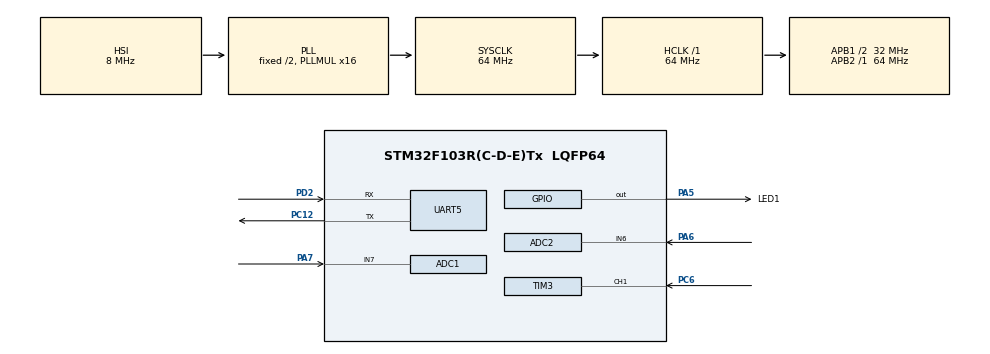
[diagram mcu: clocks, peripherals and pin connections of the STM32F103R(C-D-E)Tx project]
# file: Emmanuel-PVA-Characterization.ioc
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ADC1.Channel-0\#ChannelRegularConversion=ADC_CHANNEL_7
ADC1.NbrOfConversionFlag=1
ADC1.Rank-0\#ChannelRegularConversion=1
ADC1.SamplingTime-0\#ChannelRegularConversion=ADC_SAMPLETIME_1CYCLE_5
ADC1.master=1
ADC2.Channel-0\#ChannelRegularConversion=ADC_CHANNEL_6
ADC2.NbrOfConversionFlag=1
ADC2.Rank-0\#ChannelRegularConversion=1
ADC2.SamplingTime-0\#ChannelRegularConversion=ADC_SAMPLETIME_1CYCLE_5
Mcu.Family=STM32F1
Mcu.Name=STM32F103R(C-D-E)Tx
Mcu.Package=LQFP64
NVIC.PriorityGroup=NVIC_PRIORITYGROUP_4
PA13.Mode=Serial_Wire
PA13.Signal=SYS_JTMS-SWDIO
PA14.Mode=Serial_Wire
PA14.Signal=SYS_JTCK-SWCLK
PA5.GPIO_Label=LED1
PA5.Signal=GPIO_Output
PA6.Signal=ADCx_IN6
PA7.Signal=ADCx_IN7
PC12.Mode=Asynchronous
PC12.Signal=UART5_TX
PC6.Signal=S_TIM3_CH1
PD2.Mode=Asynchronous
PD2.Signal=UART5_RX
ProjectManager.HeapSize=0x200
ProjectManager.StackSize=0x400
ProjectManager.TargetToolchain=STM32CubeIDE
RCC.ADCPresc=RCC_ADCPCLK2_DIV6
RCC.AHBFreq_Value=64000000
RCC.APB1CLKDivider=RCC_HCLK_DIV2
RCC.APB1Freq_Value=32000000
RCC.APB1TimFreq_Value=64000000
RCC.APB2Freq_Value=64000000
RCC.APB2TimFreq_Value=64000000
RCC.HCLKFreq_Value=64000000
RCC.PLLMUL=RCC_PLL_MUL16
RCC.SYSCLKFreq_VALUE=64000000
RCC.SYSCLKSource=RCC_SYSCLKSOURCE_PLLCLK
RCC.USBFreq_Value=64000000
SH.ADCx_IN6.0=ADC2_IN6,IN6
SH.ADCx_IN7.0=ADC1_IN7,IN7
SH.S_TIM3_CH1.0=TIM3_CH1,Input_Capture1_from_TI1
TIM3.AutoReloadPreload=TIM_AUTORELOAD_PRELOAD_ENABLE
TIM3.Channel-Input_Capture1_from_TI1=TIM_CHANNEL_1
TIM3.Prescaler=64-1
UART5.VirtualMode=Asynchronous
board=custom

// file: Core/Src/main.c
/* USER CODE BEGIN Header */
/**
  ******************************************************************************
  * @file           : main.c
  * @brief          : Main program body
  ******************************************************************************
  * @attention
  *
  * Copyright (c) 2025 STMicroelectronics.
  * All rights reserved.
  *
  * This software is licensed under terms that can be found in the LICENSE file
  * in the root directory of this software component.
  * If no LICENSE file comes with this software, it is provided AS-IS.
  *
  ******************************************************************************
  */
/* USER CODE END Header */
#include "main.h"

ADC_HandleTypeDef hadc1;
ADC_HandleTypeDef hadc2;

TIM_HandleTypeDef htim3;

UART_HandleTypeDef huart5;

void SystemClock_Config(void);
static void MX_GPIO_Init(void);
static void MX_UART5_Init(void);
static void MX_ADC1_Init(void);
static void MX_ADC2_Init(void);
static void MX_TIM3_Init(void);

int main(void)
{

  /* MCU Configuration--------------------------------------------------------*/

  /* Reset of all peripherals, Initializes the Flash interface and the Systick. */
  HAL_Init();

  /* Configure the system clock */
  SystemClock_Config();

  /* Initialize all configured peripherals */
  MX_GPIO_Init();
  MX_UART5_Init();
  MX_ADC1_Init();
  MX_ADC2_Init();
  MX_TIM3_Init();
  /* USER CODE BEGIN 2 */

  #define SAMPLES 3600

  uint16_t adc1_values[SAMPLES] = {0};
  uint16_t adc2_values[SAMPLES] = {0};
  uint16_t index = 0;

  /* USER CODE END 2 */

  /* Infinite loop */
//   bool is_charging = false;

  #define THRESHOLD_FOR_SENDING     (12)        // 0.01V / 3.25V * 4095. //  // 0 doesnt work because adc1/2_values already 0.

  while (1)
  {
    /* USER CODE END WHILE */

    /* USER CODE BEGIN 3 */

    // Read ADC1 and ADC2 then print to UART

    HAL_ADC_Start(&hadc1);
    if (HAL_ADC_PollForConversion(&hadc1, HAL_MAX_DELAY) == HAL_OK)
    {
        adc1_values[index] = (uint16_t)HAL_ADC_GetValue(&hadc1);
    }
    HAL_ADC_Stop(&hadc1);

    HAL_ADC_Start(&hadc2);
    if (HAL_ADC_PollForConversion(&hadc2, HAL_MAX_DELAY) == HAL_OK)
    {
        adc2_values[index] = (uint16_t)HAL_ADC_GetValue(&hadc2);
    }
    HAL_ADC_Stop(&hadc2);

    // If voltage is <=1, skip this sample (This assumes capacitors are not charged)
    if ((int)adc2_values[index] <= THRESHOLD_FOR_SENDING){
      continue;
    }

    index++;

    if (index > SAMPLES){
      HAL_GPIO_TogglePin(LED1_GPIO_Port, LED1_Pin);
      for (int i = 0; i < SAMPLES; i++) {
        // First 16 bits are adc1 (current sensor voltage), last 16 bits are adc2 (voltage)
        uint32_t out = ((uint32_t)adc1_values[i] << 16) | ((uint32_t)adc2_values[i] << 0);
        adc1_values[i] = 0;
        adc2_values[i] = 0;
        HAL_StatusTypeDef status = HAL_UART_Transmit(&huart5, (uint8_t*)&out, sizeof(out), HAL_MAX_DELAY);
      }
      index = 0;
    }
  }
  /* USER CODE END 3 */
}

void SystemClock_Config(void)
{
  RCC_OscInitTypeDef RCC_OscInitStruct = {0};
  RCC_ClkInitTypeDef RCC_ClkInitStruct = {0};
  RCC_PeriphCLKInitTypeDef PeriphClkInit = {0};

  /** Initializes the RCC Oscillators according to the specified parameters
  * in the RCC_OscInitTypeDef structure.
  */
  RCC_OscInitStruct.OscillatorType = RCC_OSCILLATORTYPE_HSI;
  RCC_OscInitStruct.HSIState = RCC_HSI_ON;
  RCC_OscInitStruct.HSICalibrationValue = RCC_HSICALIBRATION_DEFAULT;
  RCC_OscInitStruct.PLL.PLLState = RCC_PLL_ON;
  RCC_OscInitStruct.PLL.PLLSource = RCC_PLLSOURCE_HSI_DIV2;
  RCC_OscInitStruct.PLL.PLLMUL = RCC_PLL_MUL16;
  if (HAL_RCC_OscConfig(&RCC_OscInitStruct) != HAL_OK)
  {
    Error_Handler();
  }

  /** Initializes the CPU, AHB and APB buses clocks
  */
  RCC_ClkInitStruct.ClockType = RCC_CLOCKTYPE_HCLK|RCC_CLOCKTYPE_SYSCLK
                              |RCC_CLOCKTYPE_PCLK1|RCC_CLOCKTYPE_PCLK2;
  RCC_ClkInitStruct.SYSCLKSource = RCC_SYSCLKSOURCE_PLLCLK;
  RCC_ClkInitStruct.AHBCLKDivider = RCC_SYSCLK_DIV1;
  RCC_ClkInitStruct.APB1CLKDivider = RCC_HCLK_DIV2;
  RCC_ClkInitStruct.APB2CLKDivider = RCC_HCLK_DIV1;

  if (HAL_RCC_ClockConfig(&RCC_ClkInitStruct, FLASH_LATENCY_2) != HAL_OK)
  {
    Error_Handler();
  }
  PeriphClkInit.PeriphClockSelection = RCC_PERIPHCLK_ADC;
  PeriphClkInit.AdcClockSelection = RCC_ADCPCLK2_DIV6;
  if (HAL_RCCEx_PeriphCLKConfig(&PeriphClkInit) != HAL_OK)
  {
    Error_Handler();
  }
}

static void MX_ADC1_Init(void)
{

  ADC_ChannelConfTypeDef sConfig = {0};

  /** Common config
  */
  hadc1.Instance = ADC1;
  hadc1.Init.ScanConvMode = ADC_SCAN_DISABLE;
  hadc1.Init.ContinuousConvMode = DISABLE;
  hadc1.Init.DiscontinuousConvMode = DISABLE;
  hadc1.Init.ExternalTrigConv = ADC_SOFTWARE_START;
  hadc1.Init.DataAlign = ADC_DATAALIGN_RIGHT;
  hadc1.Init.NbrOfConversion = 1;
  if (HAL_ADC_Init(&hadc1) != HAL_OK)
  {
    Error_Handler();
  }

  /** Configure Regular Channel
  */
  sConfig.Channel = ADC_CHANNEL_7;
  sConfig.Rank = ADC_REGULAR_RANK_1;
  sConfig.SamplingTime = ADC_SAMPLETIME_1CYCLE_5;
  if (HAL_ADC_ConfigChannel(&hadc1, &sConfig) != HAL_OK)
  {
    Error_Handler();
  }

}

static void MX_ADC2_Init(void)
{

  ADC_ChannelConfTypeDef sConfig = {0};

  /** Common config
  */
  hadc2.Instance = ADC2;
  hadc2.Init.ScanConvMode = ADC_SCAN_DISABLE;
  hadc2.Init.ContinuousConvMode = DISABLE;
  hadc2.Init.DiscontinuousConvMode = DISABLE;
  hadc2.Init.ExternalTrigConv = ADC_SOFTWARE_START;
  hadc2.Init.DataAlign = ADC_DATAALIGN_RIGHT;
  hadc2.Init.NbrOfConversion = 1;
  if (HAL_ADC_Init(&hadc2) != HAL_OK)
  {
    Error_Handler();
  }

  /** Configure Regular Channel
  */
  sConfig.Channel = ADC_CHANNEL_6;
  sConfig.Rank = ADC_REGULAR_RANK_1;
  sConfig.SamplingTime = ADC_SAMPLETIME_1CYCLE_5;
  if (HAL_ADC_ConfigChannel(&hadc2, &sConfig) != HAL_OK)
  {
    Error_Handler();
  }

}

static void MX_TIM3_Init(void)
{

  TIM_MasterConfigTypeDef sMasterConfig = {0};
  TIM_IC_InitTypeDef sConfigIC = {0};

  htim3.Instance = TIM3;
  htim3.Init.Prescaler = 64;
  htim3.Init.CounterMode = TIM_COUNTERMODE_UP;
  htim3.Init.Period = 65535;
  htim3.Init.ClockDivision = TIM_CLOCKDIVISION_DIV1;
  htim3.Init.AutoReloadPreload = TIM_AUTORELOAD_PRELOAD_ENABLE;
  if (HAL_TIM_IC_Init(&htim3) != HAL_OK)
  {
    Error_Handler();
  }
  sMasterConfig.MasterOutputTrigger = TIM_TRGO_RESET;
  sMasterConfig.MasterSlaveMode = TIM_MASTERSLAVEMODE_DISABLE;
  if (HAL_TIMEx_MasterConfigSynchronization(&htim3, &sMasterConfig) != HAL_OK)
  {
    Error_Handler();
  }
  sConfigIC.ICPolarity = TIM_INPUTCHANNELPOLARITY_RISING;
  sConfigIC.ICSelection = TIM_ICSELECTION_DIRECTTI;
  sConfigIC.ICPrescaler = TIM_ICPSC_DIV1;
  sConfigIC.ICFilter = 0;
  if (HAL_TIM_IC_ConfigChannel(&htim3, &sConfigIC, TIM_CHANNEL_1) != HAL_OK)
  {
    Error_Handler();
  }

}

static void MX_UART5_Init(void)
{

  huart5.Instance = UART5;
  huart5.Init.BaudRate = 115200;
  huart5.Init.WordLength = UART_WORDLENGTH_8B;
  huart5.Init.StopBits = UART_STOPBITS_1;
  huart5.Init.Parity = UART_PARITY_NONE;
  huart5.Init.Mode = UART_MODE_TX_RX;
  huart5.Init.HwFlowCtl = UART_HWCONTROL_NONE;
  huart5.Init.OverSampling = UART_OVERSAMPLING_16;
  if (HAL_UART_Init(&huart5) != HAL_OK)
  {
    Error_Handler();
  }

}

static void MX_GPIO_Init(void)
{
  GPIO_InitTypeDef GPIO_InitStruct = {0};

  /* GPIO Ports Clock Enable */
  __HAL_RCC_GPIOA_CLK_ENABLE();
  __HAL_RCC_GPIOC_CLK_ENABLE();
  __HAL_RCC_GPIOD_CLK_ENABLE();

  /*Configure GPIO pin Output Level */
  HAL_GPIO_WritePin(LED1_GPIO_Port, LED1_Pin, GPIO_PIN_RESET);

  /*Configure GPIO pin : LED1_Pin */
  GPIO_InitStruct.Pin = LED1_Pin;
  GPIO_InitStruct.Mode = GPIO_MODE_OUTPUT_PP;
  GPIO_InitStruct.Pull = GPIO_NOPULL;
  GPIO_InitStruct.Speed = GPIO_SPEED_FREQ_LOW;
  HAL_GPIO_Init(LED1_GPIO_Port, &GPIO_InitStruct);

}

void Error_Handler(void)
{
  __disable_irq();
  while (1)
  {
  }
}
